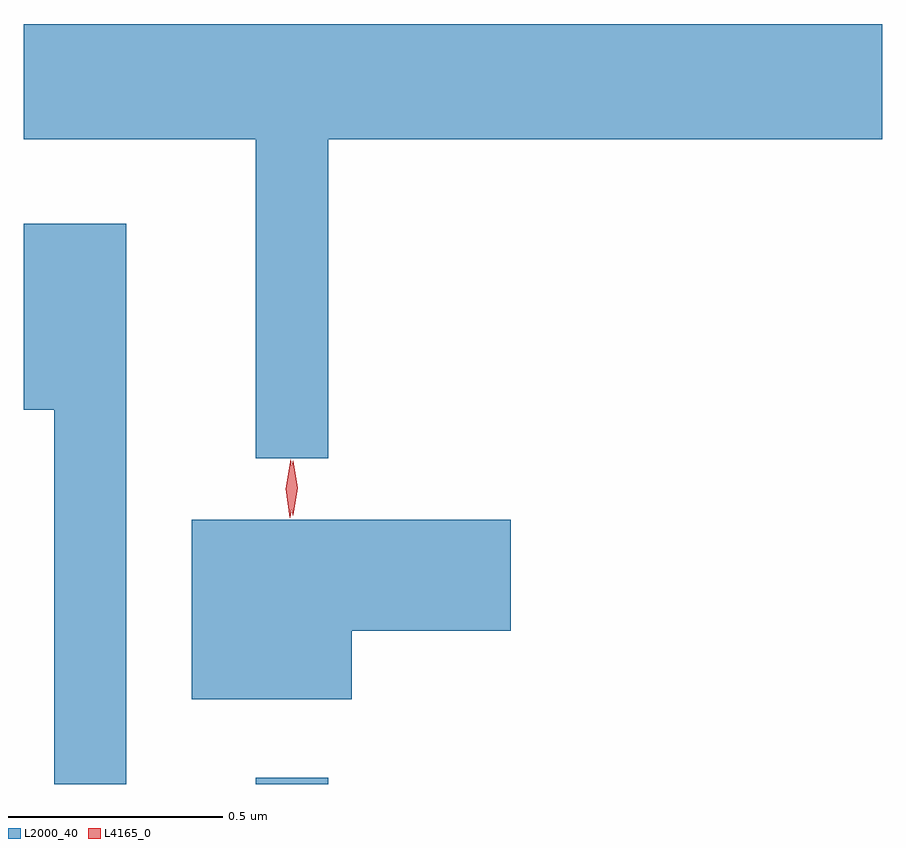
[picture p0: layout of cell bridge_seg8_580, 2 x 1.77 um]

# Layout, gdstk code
import gdstk
lib = gdstk.Library(unit=1e-6, precision=1e-09)
def R(c, l, rs):  # rectangles x0, y0, x1, y1
    for r in rs: c.add(gdstk.rectangle(r[:2], r[2:], *l))
def P(c, l, *ps):  # polygons
    for p in ps: c.add(gdstk.Polygon(p, *l))
L2000_40 = (2000, 40)
L4165_0 = (4165, 0)

bridge_seg8_580 = lib.new_cell('bridge_seg8_580')
R(bridge_seg8_580, L2000_40, [(572.321,1810.494,572.489,1810.508)])
P(bridge_seg8_580, L2000_40, [(572.489,1811.996),(573.78,1811.996),(573.78,1812.264),(571.78,1812.264),(571.78,1811.996),(572.321,1811.996),(572.321,1811.253),(572.489,1811.253)],
  [(572.019,1811.799),(571.78,1811.799),(571.78,1811.366),(571.851,1811.366),(571.851,1810.494),(572.019,1810.494)],
  [(572.544,1810.851),(572.914,1810.851),(572.914,1811.109),(572.171,1811.109),(572.171,1810.691),(572.544,1810.691)])
P(bridge_seg8_580, L4165_0, [(572.4,1811.114),(572.4,1811.114),(572.391,1811.182),(572.402,1811.25),(572.402,1811.25),(572.402,1811.25),(572.411,1811.182),(572.401,1811.114)],
  [(572.407,1811.12),(572.398,1811.184),(572.407,1811.246),(572.408,1811.247),(572.408,1811.246),(572.418,1811.184),(572.408,1811.12),(572.408,1811.12)])

lib.write_gds('bridge_seg8_580.gds')
